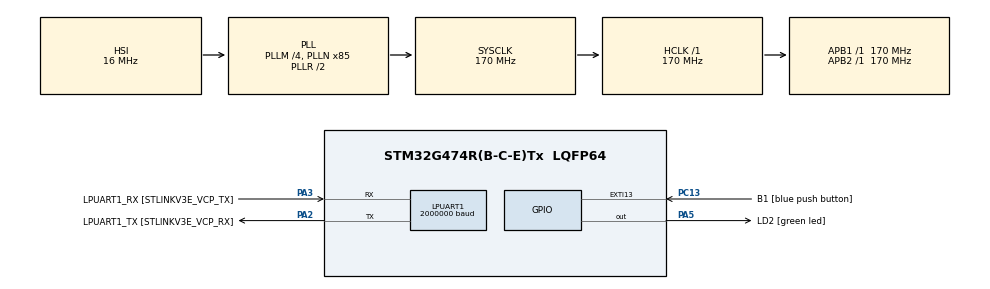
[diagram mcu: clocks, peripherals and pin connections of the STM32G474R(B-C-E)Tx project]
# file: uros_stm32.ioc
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Dma.LPUART1_RX.0.Direction=DMA_PERIPH_TO_MEMORY
Dma.LPUART1_RX.0.EventEnable=DISABLE
Dma.LPUART1_RX.0.Instance=DMA1_Channel1
Dma.LPUART1_RX.0.MemDataAlignment=DMA_MDATAALIGN_BYTE
Dma.LPUART1_RX.0.MemInc=DMA_MINC_ENABLE
Dma.LPUART1_RX.0.Mode=DMA_CIRCULAR
Dma.LPUART1_RX.0.PeriphDataAlignment=DMA_PDATAALIGN_BYTE
Dma.LPUART1_RX.0.PeriphInc=DMA_PINC_DISABLE
Dma.LPUART1_RX.0.Polarity=HAL_DMAMUX_REQ_GEN_RISING
Dma.LPUART1_RX.0.Priority=DMA_PRIORITY_VERY_HIGH
Dma.LPUART1_RX.0.RequestNumber=1
Dma.LPUART1_RX.0.SignalID=NONE
Dma.LPUART1_RX.0.SyncEnable=DISABLE
Dma.LPUART1_RX.0.SyncPolarity=HAL_DMAMUX_SYNC_NO_EVENT
Dma.LPUART1_RX.0.SyncRequestNumber=1
Dma.LPUART1_RX.0.SyncSignalID=NONE
Dma.LPUART1_TX.1.Direction=DMA_MEMORY_TO_PERIPH
Dma.LPUART1_TX.1.EventEnable=DISABLE
Dma.LPUART1_TX.1.Instance=DMA1_Channel2
Dma.LPUART1_TX.1.MemDataAlignment=DMA_MDATAALIGN_BYTE
Dma.LPUART1_TX.1.MemInc=DMA_MINC_ENABLE
Dma.LPUART1_TX.1.Mode=DMA_NORMAL
Dma.LPUART1_TX.1.PeriphDataAlignment=DMA_PDATAALIGN_BYTE
Dma.LPUART1_TX.1.PeriphInc=DMA_PINC_DISABLE
Dma.LPUART1_TX.1.Polarity=HAL_DMAMUX_REQ_GEN_RISING
Dma.LPUART1_TX.1.Priority=DMA_PRIORITY_VERY_HIGH
Dma.LPUART1_TX.1.RequestNumber=1
Dma.LPUART1_TX.1.SignalID=NONE
Dma.LPUART1_TX.1.SyncEnable=DISABLE
Dma.LPUART1_TX.1.SyncPolarity=HAL_DMAMUX_SYNC_NO_EVENT
Dma.LPUART1_TX.1.SyncRequestNumber=1
Dma.LPUART1_TX.1.SyncSignalID=NONE
Dma.Request0=LPUART1_RX
Dma.Request1=LPUART1_TX
FREERTOS.Tasks01=defaultTask,24,3000,StartDefaultTask,Default,NULL,Static,defaultTaskBuffer,defaultTaskControlBlock
IWDG.Reload=2499
LPUART1.BaudRate=2000000
Mcu.Family=STM32G4
Mcu.Name=STM32G474R(B-C-E)Tx
Mcu.Package=LQFP64
NVIC.DMA1_Channel1_IRQn=true\:5\:0\:false\:false\:true\:true\:false\:true\:true
NVIC.DMA1_Channel2_IRQn=true\:5\:0\:false\:false\:true\:true\:false\:true\:true
NVIC.EXTI15_10_IRQn=true\:5\:0\:false\:false\:true\:true\:true\:true\:true
NVIC.LPUART1_IRQn=true\:5\:0\:false\:false\:true\:true\:true\:true\:true
NVIC.PriorityGroup=NVIC_PRIORITYGROUP_4
NVIC.TIM1_UP_TIM16_IRQn=true\:15\:0\:false\:false\:true\:false\:false\:true\:true
NVIC.TimeBase=TIM1_UP_TIM16_IRQn
NVIC.TimeBaseIP=TIM1
PA13.GPIO_Label=T_SWDIO
PA13.Signal=SYS_JTMS-SWDIO
PA14.GPIO_Label=T_SWCLK
PA14.Signal=SYS_JTCK-SWCLK
PA2.GPIO_Label=LPUART1_TX [STLINKV3E_VCP_RX]
PA2.Mode=Asynchronous
PA2.Signal=LPUART1_TX
PA3.GPIO_Label=LPUART1_RX [STLINKV3E_VCP_TX]
PA3.Mode=Asynchronous
PA3.Signal=LPUART1_RX
PA5.GPIO_Label=LD2 [green led]
PA5.Signal=GPIO_Output
PB3.GPIO_Label=T_SWO
PB3.Signal=SYS_JTDO-SWO
PC13.GPIO_Label=B1 [blue push button]
PC13.Signal=GPXTI13
PC14-OSC32_IN.GPIO_Label=RCC_OSC32_IN
PC14-OSC32_IN.Signal=RCC_OSC32_IN
PC15-OSC32_OUT.GPIO_Label=RCC_OSC32_OUT
PC15-OSC32_OUT.Signal=RCC_OSC32_OUT
PF0-OSC_IN.GPIO_Label=RCC_OSC_IN
PF0-OSC_IN.Mode=HSE-External-Oscillator
PF0-OSC_IN.Signal=RCC_OSC_IN
PF1-OSC_OUT.GPIO_Label=RCC_OSC_OUT
PF1-OSC_OUT.Mode=HSE-External-Oscillator
PF1-OSC_OUT.Signal=RCC_OSC_OUT
ProjectManager.HeapSize=0x200
ProjectManager.StackSize=0x400
ProjectManager.TargetToolchain=STM32CubeIDE
RCC.ADC12Freq_Value=170000000
RCC.ADC345Freq_Value=170000000
RCC.AHBFreq_Value=170000000
RCC.APB1Freq_Value=170000000
RCC.APB1TimFreq_Value=170000000
RCC.APB2Freq_Value=170000000
RCC.APB2TimFreq_Value=170000000
RCC.CortexFreq_Value=170000000
RCC.EXTERNAL_CLOCK_VALUE=12288000
RCC.HCLKFreq_Value=170000000
RCC.HSE_VALUE=24000000
RCC.HSI48_VALUE=48000000
RCC.HSI_VALUE=16000000
RCC.LSE_VALUE=32768
RCC.PLLM=RCC_PLLM_DIV4
RCC.PLLN=85
RCC.RTCClockSelection=RCC_RTCCLKSOURCE_LSE
RCC.SYSCLKFreq_VALUE=170000000
RCC.SYSCLKSource=RCC_SYSCLKSOURCE_PLLCLK
RCC.USBFreq_Value=170000000
RCC.VCOOutputFreq_Value=340000000
VP_FREERTOS_VS_CMSIS_V2.Mode=CMSIS_V2
VP_IWDG_VS_IWDG.Mode=IWDG_Activate
VP_SYS_VS_DBSignals.Mode=DisableDeadBatterySignals
VP_SYS_VS_tim1.Mode=TIM1
board=NUCLEO-G474RE

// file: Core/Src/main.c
/* USER CODE BEGIN Header */
/**
  ******************************************************************************
  * @file           : main.c
  * @brief          : Main program body
  ******************************************************************************
  * @attention
  *
  * Copyright (c) 2025 STMicroelectronics.
  * All rights reserved.
  *
  * This software is licensed under terms that can be found in the LICENSE file
  * in the root directory of this software component.
  * If no LICENSE file comes with this software, it is provided AS-IS.
  *
  ******************************************************************************
  */
/* USER CODE END Header */
#include "main.h"
#include "cmsis_os.h"
#include "dma.h"
#include "iwdg.h"
#include "usart.h"
#include "gpio.h"

/* USER CODE BEGIN Includes */
#include <rcl/rcl.h>
#include <rcl/error_handling.h>
#include <rclc/rclc.h>
#include <rclc/executor.h>
#include <uxr/client/transport.h>
#include <rmw_microxrcedds_c/config.h>
#include <rmw_microros/rmw_microros.h>

#include <std_msgs/msg/multi_array_dimension.h>
#include <std_msgs/msg/multi_array_layout.h>
#include <std_msgs/msg/float64_multi_array.h>
#include <geometry_msgs/msg/twist.h>
/* USER CODE END Includes */

/* USER CODE BEGIN PM */
#define RCLSOFTCHECK(fn) if (fn!= RCL_RET_OK){};
/* USER CODE END PM */

/* USER CODE BEGIN PV */
rcl_node_t node;
rclc_support_t support;
rcl_allocator_t allocator;
rcl_init_options_t init_options;
rclc_executor_t executor;

rcl_publisher_t publisher;
rcl_subscription_t subscriber;

std_msgs__msg__Float64MultiArray pub_msg;
geometry_msgs__msg__Twist sub_msg;

rcl_timer_t timer;
const unsigned int timer_period = RCL_MS_TO_NS(10);
const int timeout_ms = 1000;

float linear_x, linear_y, linear_z, angular_x, angular_y, angular_z;
/* USER CODE END PV */

void SystemClock_Config(void);
void MX_FREERTOS_Init(void);
/* USER CODE BEGIN PFP */
bool cubemx_transport_open(struct uxrCustomTransport *transport);
bool cubemx_transport_close(struct uxrCustomTransport *transport);
size_t cubemx_transport_write(struct uxrCustomTransport *transport,
		const uint8_t *buf, size_t len, uint8_t *err);
size_t cubemx_transport_read(struct uxrCustomTransport *transport, uint8_t *buf,
		size_t len, int timeout, uint8_t *err);

void* microros_allocate(size_t size, void *state);
void microros_deallocate(void *pointer, void *state);
void* microros_reallocate(void *pointer, size_t size, void *state);
void* microros_zero_allocate(size_t number_of_elements, size_t size_of_element,
		void *state);

void timer_callback(rcl_timer_t *timer, int64_t last_call_time);
void subscription_callback(const void *msgin);
/* USER CODE END PFP */

/* USER CODE BEGIN 0 */
void timer_callback(rcl_timer_t *timer, int64_t last_call_time) {
	static uint8_t cnt = 0;

	if (timer != NULL) {
		// Sync micro-ROS session
		rmw_uros_sync_session(timeout_ms);

		// Toggle LED every 50 cycles (approximately every 0.5 seconds)
		if (cnt == 0)
			HAL_GPIO_TogglePin(LD2_GPIO_Port, LD2_Pin);
		cnt = (cnt + 1) % 50;

		// Prepare and publish multi-array message with motor data
		if (pub_msg.data.data != NULL) {
			pub_msg.data.data[0] = linear_x;
			pub_msg.data.data[1] = linear_y;
			pub_msg.data.data[2] = linear_z;
			pub_msg.data.data[3] = angular_x;
			pub_msg.data.data[4] = angular_y;
			pub_msg.data.data[5] = angular_z;

			// Publish the multi-array message
			RCLSOFTCHECK(rcl_publish(&publisher, &pub_msg, NULL));
		}

		// Reinitialize watchdog timer
		HAL_IWDG_Init(&hiwdg);
	}
}

void subscription_callback(const void *msgin) {
	const geometry_msgs__msg__Twist *twist_msg =
			(const geometry_msgs__msg__Twist*) msgin;

	linear_x = twist_msg->linear.x;
	linear_y = twist_msg->linear.y;
	linear_z = twist_msg->linear.z;

	angular_x = twist_msg->angular.x;
	angular_y = twist_msg->angular.y;
	angular_z = twist_msg->angular.z;
}

void StartDefaultTask(void *argument) {

	// micro-ROS configuration
	rmw_uros_set_custom_transport(true, (void*) &hlpuart1,
			cubemx_transport_open, cubemx_transport_close,
			cubemx_transport_write, cubemx_transport_read);

	rcl_allocator_t freeRTOS_allocator =
			rcutils_get_zero_initialized_allocator();
	freeRTOS_allocator.allocate = microros_allocate;
	freeRTOS_allocator.deallocate = microros_deallocate;
	freeRTOS_allocator.reallocate = microros_reallocate;
	freeRTOS_allocator.zero_allocate = microros_zero_allocate;

	if (!rcutils_set_default_allocator(&freeRTOS_allocator)) {
		printf("Error on default allocators (line %d)\n", __LINE__);
	}
	allocator = rcl_get_default_allocator();

	//create init
	init_options = rcl_get_zero_initialized_init_options();
	RCLSOFTCHECK(rcl_init_options_init(&init_options, allocator));
	RCLSOFTCHECK(rcl_init_options_set_domain_id(&init_options, 99));

	//create support
	rclc_support_init_with_options(&support, 0, NULL, &init_options,
			&allocator);

	// create node
	rclc_node_init_default(&node, "uros_motor_node", "", &support);

	pub_msg.layout.dim.capacity = 1;
	pub_msg.layout.dim.size = 1;
	pub_msg.layout.dim.data = malloc(
			sizeof(std_msgs__msg__MultiArrayDimension) * 1);

	pub_msg.layout.dim.data[0].label.data = malloc(10);
	pub_msg.layout.dim.data[0].label.capacity = 10;
	pub_msg.layout.dim.data[0].label.size = strlen("motor_data");
	strcpy(pub_msg.layout.dim.data[0].label.data, "motor_data");

	pub_msg.layout.data_offset = 0;

	pub_msg.data.capacity = 6;
	pub_msg.data.size = 6;
	pub_msg.data.data = malloc(6 * sizeof(double));

	// Create publisher
	rclc_publisher_init_default(&publisher, &node,
			ROSIDL_GET_MSG_TYPE_SUPPORT(std_msgs, msg, Float64MultiArray),
			"robot_pos");

	// Create subscriber
	rclc_subscription_init_best_effort(&subscriber, &node,
			ROSIDL_GET_MSG_TYPE_SUPPORT(geometry_msgs, msg, Twist), "cmd_vel");

	//create timer
	rclc_timer_init_default(&timer, &support, timer_period, timer_callback);

	//create executor
	executor = rclc_executor_get_zero_initialized_executor();
	rclc_executor_init(&executor, &support.context, 2, &allocator); // total number of handles = #subscriptions + #timers
	rclc_executor_add_timer(&executor, &timer);
	rclc_executor_add_subscription(&executor, &subscriber, &sub_msg,
			&subscription_callback, ON_NEW_DATA);
	rclc_executor_spin(&executor);
}
/* USER CODE END 0 */

int main(void)
{

  /* MCU Configuration--------------------------------------------------------*/

  /* Reset of all peripherals, Initializes the Flash interface and the Systick. */
  HAL_Init();

  /* Configure the system clock */
  SystemClock_Config();

  /* Initialize all configured peripherals */
  MX_GPIO_Init();
  MX_DMA_Init();
  MX_LPUART1_UART_Init();
  MX_IWDG_Init();

  /* Init scheduler */
  osKernelInitialize();

  /* Call init function for freertos objects (in cmsis_os2.c) */
  MX_FREERTOS_Init();

  /* Start scheduler */
  osKernelStart();

  /* We should never get here as control is now taken by the scheduler */

  /* Infinite loop */
  while (1)
  {

  }
}

void SystemClock_Config(void)
{
  RCC_OscInitTypeDef RCC_OscInitStruct = {0};
  RCC_ClkInitTypeDef RCC_ClkInitStruct = {0};

  /** Configure the main internal regulator output voltage
  */
  HAL_PWREx_ControlVoltageScaling(PWR_REGULATOR_VOLTAGE_SCALE1_BOOST);

  /** Initializes the RCC Oscillators according to the specified parameters
  * in the RCC_OscInitTypeDef structure.
  */
  RCC_OscInitStruct.OscillatorType = RCC_OSCILLATORTYPE_HSI|RCC_OSCILLATORTYPE_LSI;
  RCC_OscInitStruct.HSIState = RCC_HSI_ON;
  RCC_OscInitStruct.HSICalibrationValue = RCC_HSICALIBRATION_DEFAULT;
  RCC_OscInitStruct.LSIState = RCC_LSI_ON;
  RCC_OscInitStruct.PLL.PLLState = RCC_PLL_ON;
  RCC_OscInitStruct.PLL.PLLSource = RCC_PLLSOURCE_HSI;
  RCC_OscInitStruct.PLL.PLLM = RCC_PLLM_DIV4;
  RCC_OscInitStruct.PLL.PLLN = 85;
  RCC_OscInitStruct.PLL.PLLP = RCC_PLLP_DIV2;
  RCC_OscInitStruct.PLL.PLLQ = RCC_PLLQ_DIV2;
  RCC_OscInitStruct.PLL.PLLR = RCC_PLLR_DIV2;
  if (HAL_RCC_OscConfig(&RCC_OscInitStruct) != HAL_OK)
  {
    Error_Handler();
  }

  /** Initializes the CPU, AHB and APB buses clocks
  */
  RCC_ClkInitStruct.ClockType = RCC_CLOCKTYPE_HCLK|RCC_CLOCKTYPE_SYSCLK
                              |RCC_CLOCKTYPE_PCLK1|RCC_CLOCKTYPE_PCLK2;
  RCC_ClkInitStruct.SYSCLKSource = RCC_SYSCLKSOURCE_PLLCLK;
  RCC_ClkInitStruct.AHBCLKDivider = RCC_SYSCLK_DIV1;
  RCC_ClkInitStruct.APB1CLKDivider = RCC_HCLK_DIV1;
  RCC_ClkInitStruct.APB2CLKDivider = RCC_HCLK_DIV1;

  if (HAL_RCC_ClockConfig(&RCC_ClkInitStruct, FLASH_LATENCY_4) != HAL_OK)
  {
    Error_Handler();
  }
}

void HAL_TIM_PeriodElapsedCallback(TIM_HandleTypeDef *htim)
{
  if (htim->Instance == TIM1)
  {
    HAL_IncTick();
  }
}

void Error_Handler(void)
{
  __disable_irq();
  while (1)
  {
  }
}

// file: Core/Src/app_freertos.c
/* USER CODE BEGIN Header */
/**
  ******************************************************************************
  * File Name          : app_freertos.c
  * Description        : Code for freertos applications
  ******************************************************************************
  * @attention
  *
  * Copyright (c) 2025 STMicroelectronics.
  * All rights reserved.
  *
  * This software is licensed under terms that can be found in the LICENSE file
  * in the root directory of this software component.
  * If no LICENSE file comes with this software, it is provided AS-IS.
  *
  ******************************************************************************
  */
/* USER CODE END Header */

#include "FreeRTOS.h"
#include "task.h"
#include "main.h"
#include "cmsis_os.h"

typedef StaticTask_t osStaticThreadDef_t;

/* Definitions for defaultTask */
osThreadId_t defaultTaskHandle;
uint32_t defaultTaskBuffer[ 3000 ];
osStaticThreadDef_t defaultTaskControlBlock;
const osThreadAttr_t defaultTask_attributes = {
  .name = "defaultTask",
  .stack_mem = &defaultTaskBuffer[0],
  .stack_size = sizeof(defaultTaskBuffer),
  .cb_mem = &defaultTaskControlBlock,
  .cb_size = sizeof(defaultTaskControlBlock),
  .priority = (osPriority_t) osPriorityNormal,
};

void StartDefaultTask(void *argument);

void MX_FREERTOS_Init(void); /* (MISRA C 2004 rule 8.1) */

void MX_FREERTOS_Init(void) {

  /* Create the thread(s) */
  /* creation of defaultTask */
  defaultTaskHandle = osThreadNew(StartDefaultTask, NULL, &defaultTask_attributes);

}

void StartDefaultTask(void *argument)
{
  for(;;)
  {
    osDelay(1);
  }
}
